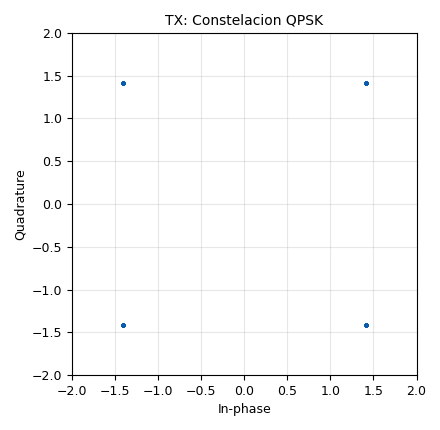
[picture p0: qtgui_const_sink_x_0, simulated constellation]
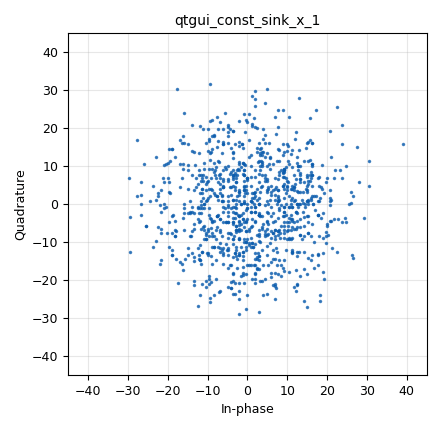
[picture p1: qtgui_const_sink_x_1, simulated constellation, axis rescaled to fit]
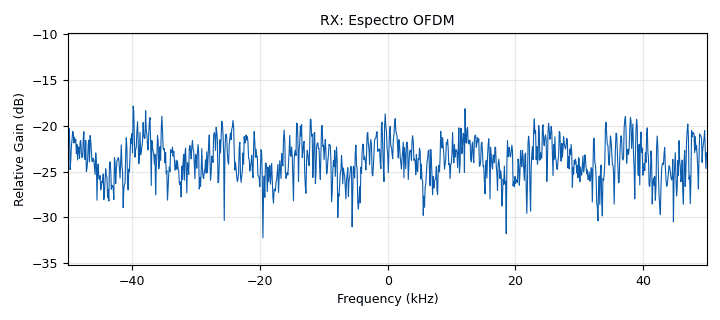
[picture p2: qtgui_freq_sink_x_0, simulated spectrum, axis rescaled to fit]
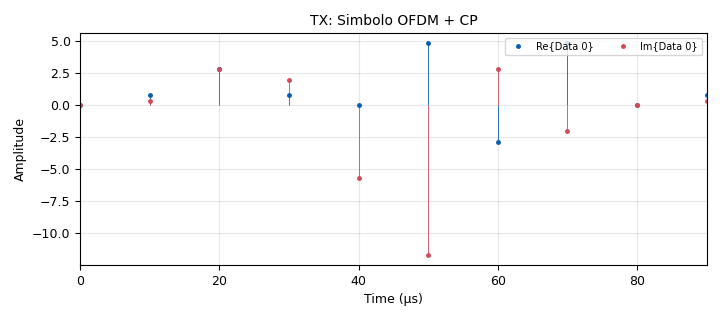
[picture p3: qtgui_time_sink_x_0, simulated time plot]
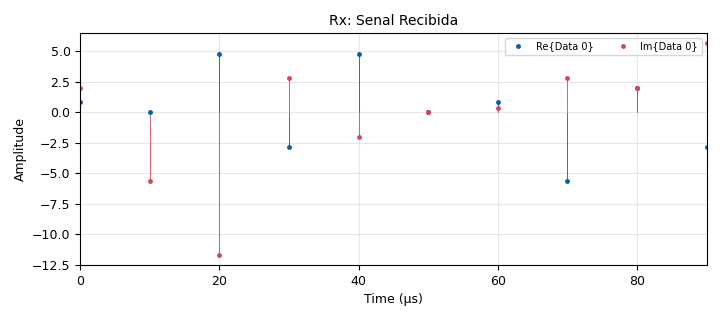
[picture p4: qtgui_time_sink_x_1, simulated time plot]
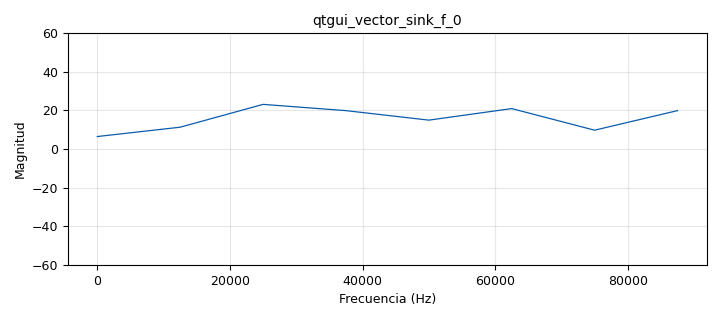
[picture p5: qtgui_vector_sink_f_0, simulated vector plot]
options:
  parameters:
    generate_options: qt_gui
    id: ofdm_demo_gnuradio
    output_language: python
    title: ofdm
  states: {}

blocks:
- name: cp_len
  id: variable
  parameters:
    value: '2'
  states: {}
- name: fft_size
  id: variable
  parameters:
    value: '8'
  states: {}
- name: noise_amp
  id: variable_qtgui_range
  parameters:
    label: Ruido (sigma)
    start: '0'
    step: '0.01'
    stop: '2'
    value: '0'
  states: {}
- name: qpsk_const
  id: variable
  parameters:
    value: digital.constellation_qpsk().base()
  states: {}
- name: samp_rate
  id: variable
  parameters:
    value: '100000'
  states: {}
- name: analog_random_uniform_source_x_0
  id: analog_random_uniform_source_x
  parameters:
    maximum: '2'
    minimum: '0'
    seed: '1'
    type: byte
  states: {}
- name: blocks_complex_to_mag_0
  id: blocks_complex_to_mag
  parameters:
    vlen: fft_size
  states: {}
- name: blocks_keep_m_in_n_0
  id: blocks_keep_m_in_n
  parameters:
    m: fft_size
    n: fft_size+cp_len
    offset: cp_len
    type: complex
  states: {}
- name: blocks_multiply_const_vxx_0
  id: blocks_multiply_const_vxx
  parameters:
    const: '1'
    type: complex
  states: {}
- name: blocks_null_sink_0
  id: blocks_null_sink
  parameters:
    type: byte
  states: {}
- name: blocks_pack_k_bits_bb_0
  id: blocks_pack_k_bits_bb
  parameters:
    k: '2'
  states: {}
- name: blocks_stream_to_vector_0
  id: blocks_stream_to_vector
  parameters:
    num_items: fft_size
    type: complex
  states: {}
- name: blocks_stream_to_vector_1
  id: blocks_stream_to_vector
  parameters:
    num_items: fft_size
    type: complex
  states: {}
- name: blocks_throttle2_0
  id: blocks_throttle2
  parameters:
    samples_per_second: samp_rate
    type: byte
  states: {}
- name: blocks_unpack_k_bits_bb_0
  id: blocks_unpack_k_bits_bb
  parameters:
    k: '2'
  states: {}
- name: blocks_vector_to_stream_0
  id: blocks_vector_to_stream
  parameters:
    num_items: fft_size
    type: complex
  states: {}
- name: channels_channel_model_0
  id: channels_channel_model
  parameters:
    epsilon: '1.0'
    freq_offset: '0.0'
    noise_voltage: '0'
    seed: '0'
    taps: '[1]'
  states: {}
- name: digital_chunks_to_symbols_xx_0
  id: digital_chunks_to_symbols_xx
  parameters:
    dimension: '1'
    in_type: byte
    out_type: complex
    symbol_table: qpsk_const.points()
  states: {}
- name: digital_constellation_decoder_cb_0
  id: digital_constellation_decoder_cb
  parameters:
    constellation: qpsk_const
  states: {}
- name: digital_ofdm_cyclic_prefixer_0
  id: digital_ofdm_cyclic_prefixer
  parameters:
    cp_len: cp_len
    input_size: fft_size
    tagname: '""'
  states: {}
- name: fft_vxx_0
  id: fft_vxx
  parameters:
    fft_size: fft_size
    forward: 'False'
    shift: 'False'
    type: complex
    window: '[]'
  states: {}
- name: fft_vxx_1
  id: fft_vxx
  parameters:
    fft_size: fft_size
    forward: 'True'
    shift: 'False'
    type: complex
    window: '[]'
  states: {}
- name: qtgui_const_sink_x_0
  id: qtgui_const_sink_x
  parameters:
    gui_hint: tabs@0
    name: '"TX: Constelacion QPSK"'
    size: '1024'
    type: complex
  states: {}
- name: qtgui_const_sink_x_1
  id: qtgui_const_sink_x
  parameters:
    gui_hint: tabs@4
    size: '1024'
    type: complex
  states: {}
- name: qtgui_freq_sink_x_0
  id: qtgui_freq_sink_x
  parameters:
    average: '0.2'
    bw: samp_rate
    ctrlpanel: 'True'
    fc: '0'
    fftsize: '1024'
    gui_hint: tabs@3
    name: '"RX: Espectro OFDM"'
    type: complex
  states: {}
- name: qtgui_time_sink_x_0
  id: qtgui_time_sink_x
  parameters:
    autoscale: 'True'
    ctrlpanel: 'True'
    gui_hint: tabs@1
    name: '"TX: Simbolo OFDM + CP"'
    size: fft_size+cp_len
    srate: samp_rate
    stemplot: 'True'
    type: complex
    update_time: '0.1'
  states: {}
- name: qtgui_time_sink_x_1
  id: qtgui_time_sink_x
  parameters:
    autoscale: 'True'
    ctrlpanel: 'True'
    gui_hint: tabs@2
    name: '"Rx: Senal Recibida"'
    size: fft_size+cp_len
    srate: samp_rate
    stemplot: 'True'
    type: complex
  states: {}
- name: qtgui_vector_sink_f_0
  id: qtgui_vector_sink_f
  parameters:
    average: '0.2'
    gui_hint: tabs@5
    vlen: fft_size
    x_axis_label: '"Frecuencia (Hz)"'
    x_start: '0'
    x_step: samp_rate/fft_size
    y_axis_label: '"Magnitud"'
    ymax: '60'
    ymin: '-60'
  states: {}
- name: tabs
  id: qtgui_tab_widget
  parameters:
    label0: Tx Const
    label1: Tx Tiempo
    label2: Rx Tiempo
    label3: Rx Espectro
    label4: Rx Const
    label5: Subportadoras
    num_tabs: '6'
  states: {}

connections:
- [analog_random_uniform_source_x_0, '0', blocks_throttle2_0, '0']
- [blocks_complex_to_mag_0, '0', qtgui_vector_sink_f_0, '0']
- [blocks_keep_m_in_n_0, '0', blocks_stream_to_vector_1, '0']
- [blocks_multiply_const_vxx_0, '0', digital_constellation_decoder_cb_0, '0']
- [blocks_multiply_const_vxx_0, '0', qtgui_const_sink_x_1, '0']
- [blocks_pack_k_bits_bb_0, '0', digital_chunks_to_symbols_xx_0, '0']
- [blocks_stream_to_vector_0, '0', fft_vxx_0, '0']
- [blocks_stream_to_vector_1, '0', fft_vxx_1, '0']
- [blocks_throttle2_0, '0', blocks_pack_k_bits_bb_0, '0']
- [blocks_unpack_k_bits_bb_0, '0', blocks_null_sink_0, '0']
- [blocks_vector_to_stream_0, '0', blocks_multiply_const_vxx_0, '0']
- [channels_channel_model_0, '0', blocks_keep_m_in_n_0, '0']
- [channels_channel_model_0, '0', qtgui_freq_sink_x_0, '0']
- [channels_channel_model_0, '0', qtgui_time_sink_x_1, '0']
- [digital_chunks_to_symbols_xx_0, '0', blocks_stream_to_vector_0, '0']
- [digital_chunks_to_symbols_xx_0, '0', qtgui_const_sink_x_0, '0']
- [digital_constellation_decoder_cb_0, '0', blocks_unpack_k_bits_bb_0, '0']
- [digital_ofdm_cyclic_prefixer_0, '0', channels_channel_model_0, '0']
- [digital_ofdm_cyclic_prefixer_0, '0', qtgui_time_sink_x_0, '0']
- [fft_vxx_0, '0', digital_ofdm_cyclic_prefixer_0, '0']
- [fft_vxx_1, '0', blocks_complex_to_mag_0, '0']
- [fft_vxx_1, '0', blocks_vector_to_stream_0, '0']

metadata:
  file_format: 1
  grc_version: 3.10.7.0
